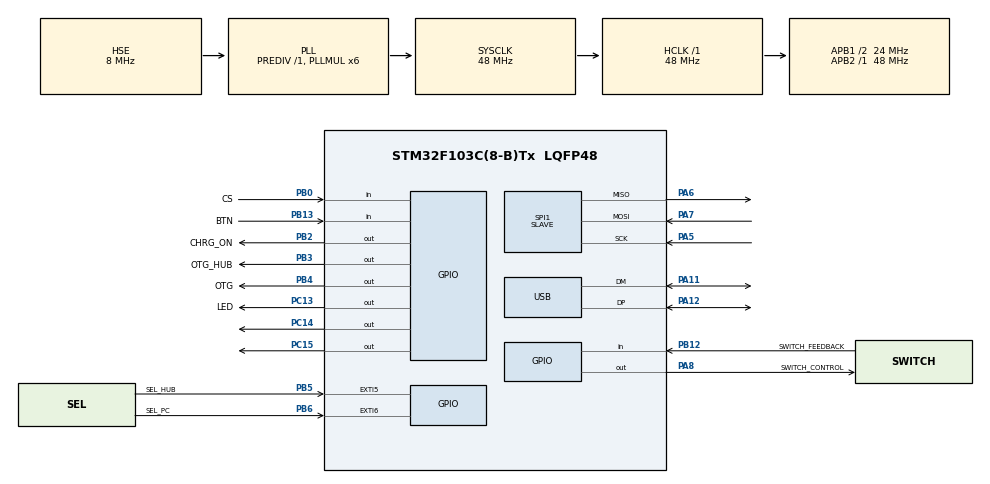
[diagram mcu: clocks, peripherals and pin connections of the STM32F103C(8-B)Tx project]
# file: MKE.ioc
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AL94.I-CUBE-USBD-COMPOSITE.1.0.3.CompositeCcUSBJjCOMPOSITEJjCOMPOSITE=true
AL94.I-CUBE-USBD-COMPOSITE.1.0.3.CompositeCcUSBJjCOMPOSITEJjCore=true
AL94.I-CUBE-USBD-COMPOSITE.1.0.3.CompositeCcUSBJjCOMPOSITEJjHIDIiKEYBOARD=true
AL94.I-CUBE-USBD-COMPOSITE.1.0.3.CompositeCcUSBJjCOMPOSITEJjHIDIiMOUSE=true
AL94.I-CUBE-USBD-COMPOSITE.1.0.3._STM32F1_DEVICE=true
AL94.I-CUBE-USBD-COMPOSITE.1.0.3._USBD_USE_HID_CUSTOM=true
AL94.I-CUBE-USBD-COMPOSITE.1.0.3._USBD_USE_HID_KEYBOARD=true
AL94.I-CUBE-USBD-COMPOSITE.1.0.3._USBD_USE_HID_MOUSE=true
Mcu.Family=STM32F1
Mcu.Name=STM32F103C(8-B)Tx
Mcu.Package=LQFP48
NVIC.PriorityGroup=NVIC_PRIORITYGROUP_4
NVIC.TIM2_IRQn=true\:0\:0\:false\:false\:true\:true\:true\:true
NVIC.USB_HP_CAN1_TX_IRQn=true\:0\:0\:false\:false\:true\:true\:true\:true
NVIC.USB_LP_CAN1_RX0_IRQn=true\:0\:0\:false\:false\:true\:true\:true\:true
PA11.Mode=Device
PA11.Signal=USB_DM
PA12.Mode=Device
PA12.Signal=USB_DP
PA13.Mode=Serial_Wire
PA13.Signal=SYS_JTMS-SWDIO
PA14.Mode=Serial_Wire
PA14.Signal=SYS_JTCK-SWCLK
PA5.Mode=Full_Duplex_Slave
PA5.Signal=SPI1_SCK
PA6.Mode=Full_Duplex_Slave
PA6.Signal=SPI1_MISO
PA7.Mode=Full_Duplex_Slave
PA7.Signal=SPI1_MOSI
PA8.GPIO_Label=SWITCH_CONTROL
PA8.Signal=GPIO_Output
PB0.GPIO_Label=CS
PB0.GPIO_PuPd=GPIO_PULLDOWN
PB0.Signal=GPIO_Input
PB12.GPIO_Label=SWITCH_FEEDBACK
PB12.GPIO_PuPd=GPIO_PULLDOWN
PB12.Signal=GPIO_Input
PB13.GPIO_Label=BTN
PB13.GPIO_PuPd=GPIO_PULLUP
PB13.Signal=GPIO_Input
PB2.GPIO_Label=CHRG_ON
PB2.GPIO_PuPd=GPIO_NOPULL
PB2.Signal=GPIO_Output
PB3.GPIO_Label=OTG_HUB
PB3.GPIO_ModeDefaultOutputPP=GPIO_MODE_OUTPUT_PP
PB3.GPIO_PuPd=GPIO_NOPULL
PB3.Signal=GPIO_Output
PB4.GPIO_Label=OTG
PB4.GPIO_ModeDefaultOutputPP=GPIO_MODE_OUTPUT_PP
PB4.GPIO_PuPd=GPIO_NOPULL
PB4.Signal=GPIO_Output
PB5.GPIO_Label=SEL_HUB
PB5.GPIO_PuPd=GPIO_PULLDOWN
PB5.Signal=GPXTI5
PB6.GPIO_Label=SEL_PC
PB6.GPIO_PuPd=GPIO_PULLDOWN
PB6.Signal=GPXTI6
PC13-TAMPER-RTC.GPIO_Label=LED
PC13-TAMPER-RTC.Signal=GPIO_Output
PC14-OSC32_IN.Signal=GPIO_Output
PC15-OSC32_OUT.Signal=GPIO_Output
PD0-OSC_IN.Mode=HSE-External-Oscillator
PD0-OSC_IN.Signal=RCC_OSC_IN
PD1-OSC_OUT.Mode=HSE-External-Oscillator
PD1-OSC_OUT.Signal=RCC_OSC_OUT
ProjectManager.HeapSize=0x200
ProjectManager.StackSize=0x400
ProjectManager.TargetToolchain=STM32CubeIDE
RCC.AHBFreq_Value=48000000
RCC.APB1CLKDivider=RCC_HCLK_DIV2
RCC.APB1Freq_Value=24000000
RCC.APB1TimFreq_Value=48000000
RCC.APB2Freq_Value=48000000
RCC.APB2TimFreq_Value=48000000
RCC.HCLKFreq_Value=48000000
RCC.PLLMUL=RCC_PLL_MUL6
RCC.SYSCLKFreq_VALUE=48000000
RCC.SYSCLKSource=RCC_SYSCLKSOURCE_PLLCLK
RCC.USBFreq_Value=48000000
SPI1.CRCCalculation=SPI_CRCCALCULATION_DISABLE
SPI1.Direction=SPI_DIRECTION_2LINES
SPI1.Mode=SPI_MODE_SLAVE
SPI1.VirtualType=VM_SLAVE
TIM2.Period=44
TIM2.Prescaler=47999
TIM2.TIM_MasterOutputTrigger=TIM_TRGO_UPDATE
VP_AL94.I-CUBE-USBD-COMPOSITE_VS_USBJjComposite_1.0.0_1.0.3.Mode=USBJjComposite
VP_TIM2_VS_ClockSourceINT.Mode=Internal
board=custom

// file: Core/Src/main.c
/* USER CODE BEGIN Header */
/**
  ******************************************************************************
  * @file           : main.c
  * @brief          : Main program body
  ******************************************************************************
  * @attention
  *
  * Copyright (c) 2023 STMicroelectronics.
  * All rights reserved.
  *
  * This software is licensed under terms that can be found in the LICENSE file
  * in the root directory of this software component.
  * If no LICENSE file comes with this software, it is provided AS-IS.
  *
  ******************************************************************************
  */
/* USER CODE END Header */
#include "main.h"
#include "spi.h"
#include "tim.h"
#include "usb.h"
#include "gpio.h"

/* USER CODE BEGIN Includes */
#include "usbd_def.h"
#include "mke.h"
/* USER CODE END Includes */

void SystemClock_Config(void);

int main(void)
{

  /* MCU Configuration--------------------------------------------------------*/

  /* Reset of all peripherals, Initializes the Flash interface and the Systick. */
  HAL_Init();

  /* Configure the system clock */
  SystemClock_Config();

  /* Initialize all configured peripherals */
  MX_GPIO_Init();
  MX_USB_PCD_Init();
  MX_SPI1_Init();
  MX_TIM2_Init();
  /* USER CODE BEGIN 2 */
  MX_USB_DEVICE_Init();
#ifdef EXEC_TIME
  DWT_Init();
#endif
  HAL_GPIO_WritePin(OTG_GPIO_Port,OTG_Pin,GPIO_PIN_RESET);
  //HAL_GPIO_WritePin(OTG_HUB_GPIO_Port,OTG_HUB_Pin,GPIO_PIN_SET);
  HAL_GPIO_WritePin(SWITCH_CONTROL_GPIO_Port,SWITCH_CONTROL_Pin,GPIO_PIN_SET);
  HAL_GPIO_WritePin(GPIOC,GPIO_PIN_13,GPIO_PIN_SET);

	HAL_GPIO_WritePin(SEL_PC_GPIO_Port,SEL_PC_Pin,GPIO_PIN_SET);
	HAL_GPIO_WritePin(SEL_HUB_GPIO_Port,SEL_HUB_Pin,GPIO_PIN_SET);
	HAL_GPIO_WritePin(CHRG_ON_GPIO_Port,CHRG_ON_Pin,GPIO_PIN_SET);
	HAL_GPIO_WritePin(OTG_GPIO_Port,OTG_Pin,GPIO_PIN_SET);
	HAL_GPIO_WritePin(OTG_HUB_GPIO_Port,OTG_HUB_Pin,GPIO_PIN_RESET);
	HAL_GPIO_WritePin(LED_GPIO_Port,LED_Pin,GPIO_PIN_SET);
  //HAL_TIM_Base_Stop_IT(&htim2);
  mke_init();
  /* USER CODE END 2 */

  /* Infinite loop */
  while (1)
  {

    /* USER CODE BEGIN 3 */
	  //mouse_keyboard_test_2();
	  //mke_main();
  }
  /* USER CODE END 3 */
}

void SystemClock_Config(void)
{
  RCC_OscInitTypeDef RCC_OscInitStruct = {0};
  RCC_ClkInitTypeDef RCC_ClkInitStruct = {0};
  RCC_PeriphCLKInitTypeDef PeriphClkInit = {0};

  /** Initializes the RCC Oscillators according to the specified parameters
  * in the RCC_OscInitTypeDef structure.
  */
  RCC_OscInitStruct.OscillatorType = RCC_OSCILLATORTYPE_HSE;
  RCC_OscInitStruct.HSEState = RCC_HSE_ON;
  RCC_OscInitStruct.HSEPredivValue = RCC_HSE_PREDIV_DIV1;
  RCC_OscInitStruct.HSIState = RCC_HSI_ON;
  RCC_OscInitStruct.PLL.PLLState = RCC_PLL_ON;
  RCC_OscInitStruct.PLL.PLLSource = RCC_PLLSOURCE_HSE;
  RCC_OscInitStruct.PLL.PLLMUL = RCC_PLL_MUL6;
  if (HAL_RCC_OscConfig(&RCC_OscInitStruct) != HAL_OK)
  {
    Error_Handler();
  }

  /** Initializes the CPU, AHB and APB buses clocks
  */
  RCC_ClkInitStruct.ClockType = RCC_CLOCKTYPE_HCLK|RCC_CLOCKTYPE_SYSCLK
                              |RCC_CLOCKTYPE_PCLK1|RCC_CLOCKTYPE_PCLK2;
  RCC_ClkInitStruct.SYSCLKSource = RCC_SYSCLKSOURCE_PLLCLK;
  RCC_ClkInitStruct.AHBCLKDivider = RCC_SYSCLK_DIV1;
  RCC_ClkInitStruct.APB1CLKDivider = RCC_HCLK_DIV2;
  RCC_ClkInitStruct.APB2CLKDivider = RCC_HCLK_DIV1;

  if (HAL_RCC_ClockConfig(&RCC_ClkInitStruct, FLASH_LATENCY_1) != HAL_OK)
  {
    Error_Handler();
  }
  PeriphClkInit.PeriphClockSelection = RCC_PERIPHCLK_USB;
  PeriphClkInit.UsbClockSelection = RCC_USBCLKSOURCE_PLL;
  if (HAL_RCCEx_PeriphCLKConfig(&PeriphClkInit) != HAL_OK)
  {
    Error_Handler();
  }
}

void Error_Handler(void)
{
  __disable_irq();
  while (1)
  {
  }
}
